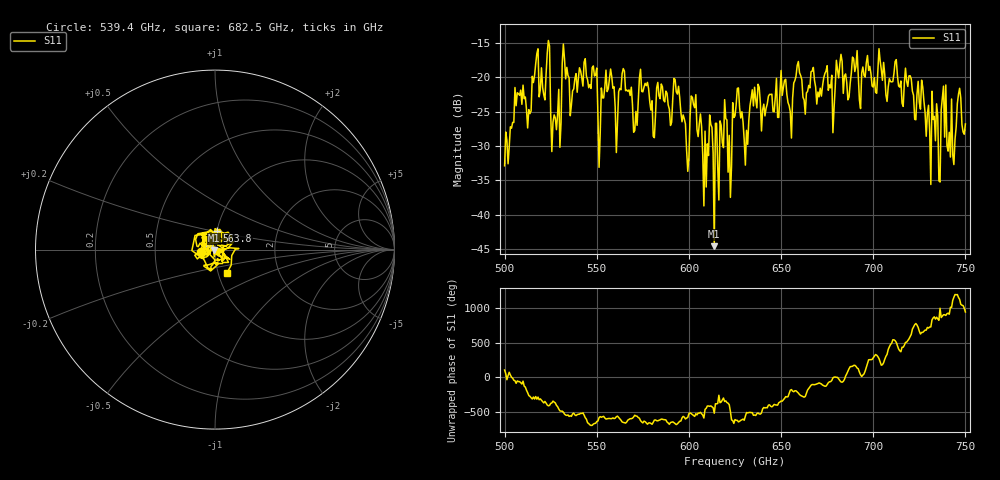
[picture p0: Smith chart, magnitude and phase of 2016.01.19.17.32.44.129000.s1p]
!Created with skrf (http://scikit-rf.org).
# GHz S RI R 50.0
!freq ReS11 ImS11
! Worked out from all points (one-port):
!   401 points, 500 GHz to 750 GHz, reference 50 ohm
!   lowest |S11| = -44.6 dB at 613.8 GHz (marker M1), VSWR 1.01, Z = 49.5 - j0.278 ohm
!   |S11| at or under -10 dB: start of sweep to end of sweep
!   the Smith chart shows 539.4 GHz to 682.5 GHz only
!   S11 on the Smith chart (normalised r, x): 539.4 GHz: 0.86, -0.02; 563.8 GHz: 1.00, +0.21; 682.5 GHz: 1.10, -0.29
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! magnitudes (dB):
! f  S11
! 500 GHz  -32.9
! 516.9 GHz  -18.0
! 523.8 GHz  -14.6
! 526.9 GHz  -25.5
! 531.2 GHz  -18.0
! 539.4 GHz  -22.2
! 548.8 GHz  -19.8
! 551.9 GHz  -28.1
! 562.5 GHz  -21.6
! 563.8 GHz  -19.5
! 570.6 GHz  -27.8
! 574.4 GHz  -22.1
! 593.8 GHz  -22.4
! 598.8 GHz  -30.6
! 602.5 GHz  -24.0
! 608.8 GHz  -27.8
! 613.8 GHz  -44.6
! 621.9 GHz  -28.5
! 625 GHz  -25.6
! 630.6 GHz  -32.8
! 636.9 GHz  -24.5
! 656.2 GHz  -23.1
! 682.5 GHz  -16.7
! 687.5 GHz  -20.9
! 718.8 GHz  -21.3
! 735 GHz  -25.6
! 738.1 GHz  -21.3
! 750 GHz  -26.8
